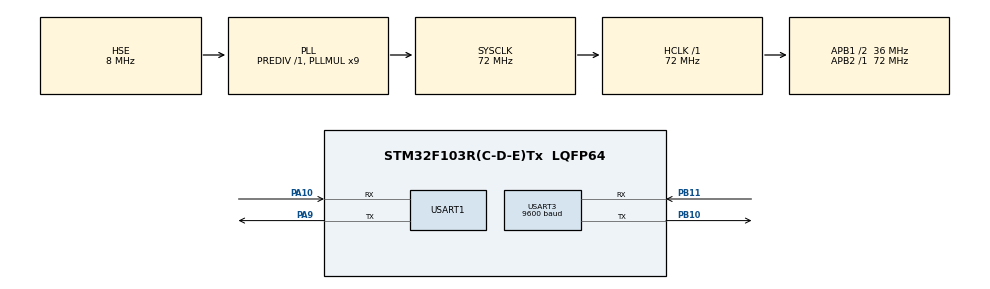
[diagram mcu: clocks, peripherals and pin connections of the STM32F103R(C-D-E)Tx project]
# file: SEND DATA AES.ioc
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Mcu.Family=STM32F1
Mcu.Name=STM32F103R(C-D-E)Tx
Mcu.Package=LQFP64
NVIC.PriorityGroup=NVIC_PRIORITYGROUP_4
NVIC.USART1_IRQn=true\:0\:0\:false\:false\:true\:true
NVIC.USART3_IRQn=true\:1\:0\:true\:false\:true\:true
PA10.Mode=Asynchronous
PA10.Signal=USART1_RX
PA13.Mode=Serial_Wire
PA13.Signal=SYS_JTMS-SWDIO
PA14.Mode=Serial_Wire
PA14.Signal=SYS_JTCK-SWCLK
PA9.Mode=Asynchronous
PA9.Signal=USART1_TX
PB10.Mode=Asynchronous
PB10.Signal=USART3_TX
PB11.Mode=Asynchronous
PB11.Signal=USART3_RX
PD0-OSC_IN.Mode=HSE-External-Oscillator
PD0-OSC_IN.Signal=RCC_OSC_IN
PD1-OSC_OUT.Mode=HSE-External-Oscillator
PD1-OSC_OUT.Signal=RCC_OSC_OUT
ProjectManager.HeapSize=0x200
ProjectManager.StackSize=0x400
ProjectManager.TargetToolchain=MDK-ARM V5
RCC.AHBFreq_Value=72000000
RCC.APB1CLKDivider=RCC_HCLK_DIV2
RCC.APB1Freq_Value=36000000
RCC.APB1TimFreq_Value=72000000
RCC.APB2Freq_Value=72000000
RCC.APB2TimFreq_Value=72000000
RCC.HCLKFreq_Value=72000000
RCC.PLLMUL=RCC_PLL_MUL9
RCC.PLLSourceVirtual=RCC_PLLSOURCE_HSE
RCC.SYSCLKFreq_VALUE=72000000
RCC.SYSCLKSource=RCC_SYSCLKSOURCE_PLLCLK
RCC.USBFreq_Value=72000000
USART1.VirtualMode=VM_ASYNC
USART3.BaudRate=9600
USART3.VirtualMode=VM_ASYNC
board=SEND DATA AES

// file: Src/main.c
/**
  ******************************************************************************
  * @file           : main.c
  * @brief          : Main program body
  ******************************************************************************
  ** This notice applies to any and all portions of this file
  * that are not between comment pairs USER CODE BEGIN and
  * USER CODE END. Other portions of this file, whether
  * inserted by the user or by software development tools
  * are owned by their respective copyright owners.
  *
  * COPYRIGHT(c) 2018 STMicroelectronics
  *
  * Redistribution and use in source and binary forms, with or without modification,
  * are permitted provided that the following conditions are met:
  *   1. Redistributions of source code must retain the above copyright notice,
  *      this list of conditions and the following disclaimer.
  *   2. Redistributions in binary form must reproduce the above copyright notice,
  *      this list of conditions and the following disclaimer in the documentation
  *      and/or other materials provided with the distribution.
  *   3. Neither the name of STMicroelectronics nor the names of its contributors
  *      may be used to endorse or promote products derived from this software
  *      without specific prior written permission.
  *
  * THIS SOFTWARE IS PROVIDED BY THE COPYRIGHT HOLDERS AND CONTRIBUTORS "AS IS"
  * AND ANY EXPRESS OR IMPLIED WARRANTIES, INCLUDING, BUT NOT LIMITED TO, THE
  * IMPLIED WARRANTIES OF MERCHANTABILITY AND FITNESS FOR A PARTICULAR PURPOSE ARE
  * DISCLAIMED. IN NO EVENT SHALL THE COPYRIGHT HOLDER OR CONTRIBUTORS BE LIABLE
  * FOR ANY DIRECT, INDIRECT, INCIDENTAL, SPECIAL, EXEMPLARY, OR CONSEQUENTIAL
  * DAMAGES (INCLUDING, BUT NOT LIMITED TO, PROCUREMENT OF SUBSTITUTE GOODS OR
  * SERVICES; LOSS OF USE, DATA, OR PROFITS; OR BUSINESS INTERRUPTION) HOWEVER
  * CAUSED AND ON ANY THEORY OF LIABILITY, WHETHER IN CONTRACT, STRICT LIABILITY,
  * OR TORT (INCLUDING NEGLIGENCE OR OTHERWISE) ARISING IN ANY WAY OUT OF THE USE
  * OF THIS SOFTWARE, EVEN IF ADVISED OF THE POSSIBILITY OF SUCH DAMAGE.
  *
  ******************************************************************************
  */
#include "main.h"
#include "stm32f1xx_hal.h"

/* USER CODE BEGIN Includes */
#include <stdio.h>
#include <string.h>
#include <stdint.h>

// Enable ECB, CTR and CBC mode. Note this can be done before including aes.h or at compile-time.
// E.g. with GCC by using the -D flag: gcc -c aes.c -DCBC=0 -DCTR=1 -DECB=1
#define CBC 1
#define CTR 1
#define ECB 1

#include "aes.h"

uint8_t key[] = { 0x2b, 0x7e, 0x15, 0x16, 0x28, 0xae, 0xd2, 0xa6, 0xab, 0xf7, 0x15, 0x88, 0x09, 0xcf, 0x4f, 0x3c };
volatile uint8_t out[] = { 0x3a, 0xd7, 0x7b, 0xb4, 0x0d, 0x7a, 0x36, 0x60, 0xa8, 0x9e, 0xca, 0xf3, 0x24, 0x66, 0xef, 0x97 };
uint8_t in[]  = { 0x6b, 0xc1, 0xbe, 0xe2, 0x2e, 0x40, 0x9f, 0x96, 0xe9, 0x3d, 0x7e, 0x11, 0x73, 0x93, 0x17, 0x2a };
uint8_t buffer[16], ban_mat[16];
uint8_t rx_data[16],tx_data[16], set_buff[2],set_buff3[2],mode=0, mode3=0;
uint8_t respon[] = "RE";
uint8_t rep[2] ="OK";
char buf_respon[2], length=0;
/* USER CODE END Includes */

UART_HandleTypeDef huart1;
UART_HandleTypeDef huart3;

/* USER CODE BEGIN PV */
/* Private variables ---------------------------------------------------------*/

/* USER CODE END PV */

void SystemClock_Config(void);
static void MX_GPIO_Init(void);
static void MX_USART1_UART_Init(void);
static void MX_USART3_UART_Init(void);

/* USER CODE BEGIN PFP */
/* Private function prototypes -----------------------------------------------*/

/* USER CODE END PFP */

/* USER CODE BEGIN 0 */
void HAL_UART_RxCpltCallback(UART_HandleTypeDef *huart)
{
	if (huart->Instance == USART1)	//UART hien tai la uart1  //usb
		{
			mode++;
	  }

  if (huart->Instance == USART3)	//UART hien tai la uart1  //hc05
		{
			mode3++;
	  }

}
/* USER CODE END 0 */

int main(void)
{

  /* MCU Configuration----------------------------------------------------------*/

  /* Reset of all peripherals, Initializes the Flash interface and the Systick. */
  HAL_Init();

  /* Configure the system clock */
  SystemClock_Config();

  /* Initialize all configured peripherals */
  MX_GPIO_Init();
  MX_USART1_UART_Init();
  MX_USART3_UART_Init();
  /* USER CODE BEGIN 2 */
  //AES_ECB_encrypt(in, key, buffer, 16);
	//AES_ECB_decrypt(buffer, key, ban_mat, 16);

	HAL_UART_Receive_IT(&huart1, set_buff, 2);
	//HAL_UART_Receive_IT(&huart3, rx_data, 16);	//Kich hoat UART nhan du lieu ngat moi luc

  /* USER CODE END 2 */

  /* Infinite loop */
  /* USER CODE BEGIN WHILE */
  while (1)
  {
     if((set_buff[0]=='S')&&(set_buff[1]=='T')&&(mode==1))
		    { ///bao san sang truyen, bo trang thai mach (thu hay phat)
						//Kich hoat UART nhan du lieu ngat moi luc
				 for(int i=0; i<2; i++)
				{
					set_buff[i]=0;
				}
			   mode=2;	 // da vao che do giai ma
         HAL_UART_Receive_IT(&huart3, rx_data, 16);
         sprintf(buf_respon, "%s", respon);	// IN bufer
				 length = strlen(buf_respon);  // rep RE
		     HAL_UART_Transmit(&huart1,(uint8_t*)buf_respon,length,2);	//Truyen buffer voi chieu dai qua uart1
		    }

		 if(mode3==1)
		 {
			  HAL_UART_Receive_IT(&huart1, set_buff, 2);  //kich hoat ngat, doi may tinh bao ok
			  AES_ECB_decrypt(rx_data, key, tx_data, 16);
				HAL_UART_Transmit(&huart1,tx_data,16, 16);	//Truyen buffer voi chieu dai qua uart1
			  mode3=2;

		 }
		 if((mode3==2)&&(set_buff[0]=='O')&&(set_buff[1]=='K')&&(mode==3))
		 {
			 for(int i=0; i<16; i++)
				{
					rx_data[i]=0;
				}
				mode3=0;
				mode=2;
				HAL_UART_Receive_IT(&huart3, rx_data, 16);	//Kich hoat UART nhan du lieu ngat moi luc
				HAL_UART_Transmit(&huart3,rep,2, 10);  // BAao hoan tat qua trinh truyen
		 }

	/*
		if(mode3==1)
			{
				AES_ECB_encrypt(rx_data, key, tx_data, 16);
				HAL_UART_Transmit(&huart3,tx_data,16, 10);	//Truyen buffer voi chieu dai qua uart3
				mode=4;
				HAL_UART_Receive_IT(&huart3, set_buff3, 2);

			}
		if((mode==4)&&(set_buff3[0]=='O')&&(set_buff3[1]=='K')&&(mode3==1))
		{
			mode=2;
			mode3=0;
			for(int i=0; i<16; i++)
				{
					rx_data[i]=0;
				}

				HAL_UART_Receive_IT(&huart1, rx_data, 16);	//Kich hoat UART nhan du lieu ngat moi luc
				HAL_UART_Transmit(&huart1,rep,2, 10);  // BAao hoan tat qua trinh truyen
		}

		*/
  /* USER CODE END WHILE */

  }

}

void SystemClock_Config(void)
{

  RCC_OscInitTypeDef RCC_OscInitStruct;
  RCC_ClkInitTypeDef RCC_ClkInitStruct;

    /**Initializes the CPU, AHB and APB busses clocks
    */
  RCC_OscInitStruct.OscillatorType = RCC_OSCILLATORTYPE_HSE;
  RCC_OscInitStruct.HSEState = RCC_HSE_ON;
  RCC_OscInitStruct.HSEPredivValue = RCC_HSE_PREDIV_DIV1;
  RCC_OscInitStruct.HSIState = RCC_HSI_ON;
  RCC_OscInitStruct.PLL.PLLState = RCC_PLL_ON;
  RCC_OscInitStruct.PLL.PLLSource = RCC_PLLSOURCE_HSE;
  RCC_OscInitStruct.PLL.PLLMUL = RCC_PLL_MUL9;
  if (HAL_RCC_OscConfig(&RCC_OscInitStruct) != HAL_OK)
  {
    _Error_Handler(__FILE__, __LINE__);
  }

    /**Initializes the CPU, AHB and APB busses clocks
    */
  RCC_ClkInitStruct.ClockType = RCC_CLOCKTYPE_HCLK|RCC_CLOCKTYPE_SYSCLK
                              |RCC_CLOCKTYPE_PCLK1|RCC_CLOCKTYPE_PCLK2;
  RCC_ClkInitStruct.SYSCLKSource = RCC_SYSCLKSOURCE_PLLCLK;
  RCC_ClkInitStruct.AHBCLKDivider = RCC_SYSCLK_DIV1;
  RCC_ClkInitStruct.APB1CLKDivider = RCC_HCLK_DIV2;
  RCC_ClkInitStruct.APB2CLKDivider = RCC_HCLK_DIV1;

  if (HAL_RCC_ClockConfig(&RCC_ClkInitStruct, FLASH_LATENCY_2) != HAL_OK)
  {
    _Error_Handler(__FILE__, __LINE__);
  }

    /**Configure the Systick interrupt time
    */
  HAL_SYSTICK_Config(HAL_RCC_GetHCLKFreq()/1000);

    /**Configure the Systick
    */
  HAL_SYSTICK_CLKSourceConfig(SYSTICK_CLKSOURCE_HCLK);

  /* SysTick_IRQn interrupt configuration */
  HAL_NVIC_SetPriority(SysTick_IRQn, 0, 0);
}

/* USART1 init function */
static void MX_USART1_UART_Init(void)
{

  huart1.Instance = USART1;
  huart1.Init.BaudRate = 115200;
  huart1.Init.WordLength = UART_WORDLENGTH_8B;
  huart1.Init.StopBits = UART_STOPBITS_1;
  huart1.Init.Parity = UART_PARITY_NONE;
  huart1.Init.Mode = UART_MODE_TX_RX;
  huart1.Init.HwFlowCtl = UART_HWCONTROL_NONE;
  huart1.Init.OverSampling = UART_OVERSAMPLING_16;
  if (HAL_UART_Init(&huart1) != HAL_OK)
  {
    _Error_Handler(__FILE__, __LINE__);
  }

}

/* USART3 init function */
static void MX_USART3_UART_Init(void)
{

  huart3.Instance = USART3;
  huart3.Init.BaudRate = 9600;
  huart3.Init.WordLength = UART_WORDLENGTH_8B;
  huart3.Init.StopBits = UART_STOPBITS_1;
  huart3.Init.Parity = UART_PARITY_NONE;
  huart3.Init.Mode = UART_MODE_TX_RX;
  huart3.Init.HwFlowCtl = UART_HWCONTROL_NONE;
  huart3.Init.OverSampling = UART_OVERSAMPLING_16;
  if (HAL_UART_Init(&huart3) != HAL_OK)
  {
    _Error_Handler(__FILE__, __LINE__);
  }

}

/** Configure pins as
        * Analog
        * Input
        * Output
        * EVENT_OUT
        * EXTI
*/
static void MX_GPIO_Init(void)
{

  /* GPIO Ports Clock Enable */
  __HAL_RCC_GPIOD_CLK_ENABLE();
  __HAL_RCC_GPIOB_CLK_ENABLE();
  __HAL_RCC_GPIOA_CLK_ENABLE();

}

void _Error_Handler(char *file, int line)
{
  while(1)
  {
  }
}

/************************ (C) COPYRIGHT STMicroelectronics *****END OF FILE****/
